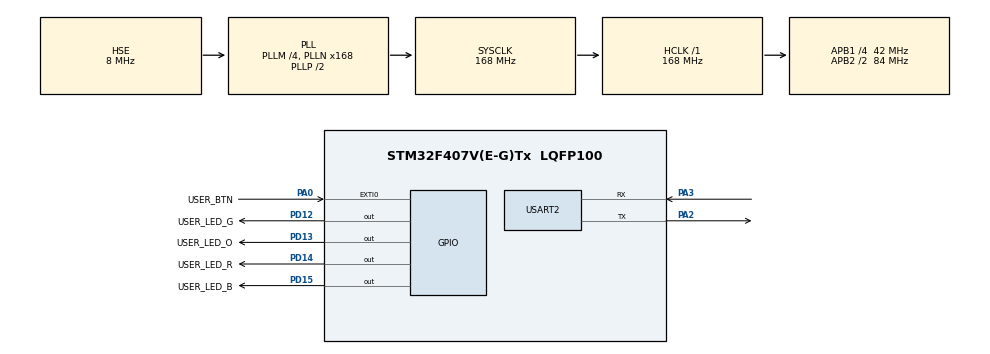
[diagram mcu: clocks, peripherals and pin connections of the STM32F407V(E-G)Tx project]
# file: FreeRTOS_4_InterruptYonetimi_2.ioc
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FREERTOS.CountingSemaphores01=xCountingSemaphore,3,Dynamic,NULL
FREERTOS.INCLUDE_xTimerPendFunctionCall=1
FREERTOS.Tasks01=PeriodicTask,0,128,vPeriodicTask,Default,NULL,Dynamic,NULL,NULL
FREERTOS.configTIMER_QUEUE_LENGTH=2
FREERTOS.configUSE_COUNTING_SEMAPHORES=1
FREERTOS.configUSE_TIMERS=1
Mcu.Family=STM32F4
Mcu.Name=STM32F407V(E-G)Tx
Mcu.Package=LQFP100
NVIC.EXTI0_IRQn=true\:5\:0\:true\:false\:false\:false\:true\:false
NVIC.PriorityGroup=NVIC_PRIORITYGROUP_4
NVIC.TIM1_UP_TIM10_IRQn=true\:0\:0\:false\:false\:true\:false\:false\:true
NVIC.TimeBase=TIM1_UP_TIM10_IRQn
NVIC.TimeBaseIP=TIM1
PA0-WKUP.GPIO_Label=USER_BTN
PA0-WKUP.GPIO_PuPd=GPIO_PULLDOWN
PA0-WKUP.Signal=GPXTI0
PA2.Mode=Asynchronous
PA2.Signal=USART2_TX
PA3.Mode=Asynchronous
PA3.Signal=USART2_RX
PD12.GPIO_Label=USER_LED_G
PD12.Signal=GPIO_Output
PD13.GPIO_Label=USER_LED_O
PD13.Signal=GPIO_Output
PD14.GPIO_Label=USER_LED_R
PD14.Signal=GPIO_Output
PD15.GPIO_Label=USER_LED_B
PD15.Signal=GPIO_Output
PH0-OSC_IN.Mode=HSE-External-Oscillator
PH0-OSC_IN.Signal=RCC_OSC_IN
PH1-OSC_OUT.Mode=HSE-External-Oscillator
PH1-OSC_OUT.Signal=RCC_OSC_OUT
ProjectManager.HeapSize=0x200
ProjectManager.StackSize=0x400
ProjectManager.TargetToolchain=STM32CubeIDE
RCC.48MHZClocksFreq_Value=84000000
RCC.AHBFreq_Value=168000000
RCC.APB1CLKDivider=RCC_HCLK_DIV4
RCC.APB1Freq_Value=42000000
RCC.APB1TimFreq_Value=84000000
RCC.APB2CLKDivider=RCC_HCLK_DIV2
RCC.APB2Freq_Value=84000000
RCC.APB2TimFreq_Value=168000000
RCC.CortexFreq_Value=168000000
RCC.HCLKFreq_Value=168000000
RCC.HSE_VALUE=8000000
RCC.HSI_VALUE=16000000
RCC.LSE_VALUE=32768
RCC.PLLM=4
RCC.PLLN=168
RCC.PLLSourceVirtual=RCC_PLLSOURCE_HSE
RCC.SYSCLKFreq_VALUE=168000000
RCC.SYSCLKSource=RCC_SYSCLKSOURCE_PLLCLK
RCC.VCOOutputFreq_Value=336000000
USART2.VirtualMode=VM_ASYNC
VP_FREERTOS_VS_CMSIS_V1.Mode=CMSIS_V1
VP_SYS_VS_tim1.Mode=TIM1
board=custom

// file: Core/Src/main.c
/* USER CODE BEGIN Header */
/**
  ******************************************************************************
  * @file           : main.c
  * @brief          : Main program body
  ******************************************************************************
  * @attention
  *
  * <h2><center>&copy; Copyright (c) 2020 STMicroelectronics.
  * All rights reserved.</center></h2>
  *
  * This software component is licensed by ST under BSD 3-Clause license,
  * the "License"; You may not use this file except in compliance with the
  * License. You may obtain a copy of the License at:
  *                        opensource.org/licenses/BSD-3-Clause
  *
  ******************************************************************************
  */
/* USER CODE END Header */
#include "main.h"
#include "cmsis_os.h"

/* USER CODE BEGIN Includes */
#include "string.h"
#include "stdio.h"
/* USER CODE END Includes */

UART_HandleTypeDef huart2;

osThreadId PeriodicTaskHandle;
osSemaphoreId xCountingSemaphoreHandle;

void SystemClock_Config(void);
static void MX_GPIO_Init(void);
static void MX_USART2_UART_Init(void);
void vPeriodicTask(void const * argument);

/* USER CODE BEGIN PFP */
void UartPrint(char* message);
void vDeferredHandlingFunction( void *pvParameter1, uint32_t ulParameter2 );
/* USER CODE END PFP */

int main(void)
{

  /* MCU Configuration--------------------------------------------------------*/

  /* Reset of all peripherals, Initializes the Flash interface and the Systick. */
  HAL_Init();

  /* Configure the system clock */
  SystemClock_Config();

  /* Initialize all configured peripherals */
  MX_GPIO_Init();
  MX_USART2_UART_Init();

  /* Create the semaphores(s) */
  /* definition and creation of xCountingSemaphore */
  osSemaphoreDef(xCountingSemaphore);
  xCountingSemaphoreHandle = osSemaphoreCreate(osSemaphore(xCountingSemaphore), 3);

  /* USER CODE BEGIN RTOS_SEMAPHORES */

   // FreeRTOS API ile bu sekilde kullanilmaktadir.
   // SemaphoreHandle_t _xCountingSemaphore = xSemaphoreCreateCounting(2,0);

  /* add semaphores, ... */
  /* USER CODE END RTOS_SEMAPHORES */

  /* Create the thread(s) */
  /* definition and creation of PeriodicTask */
  osThreadDef(PeriodicTask, vPeriodicTask, osPriorityNormal, 0, 128);
  PeriodicTaskHandle = osThreadCreate(osThread(PeriodicTask), NULL);

  /* Start scheduler */
  osKernelStart();

  /* We should never get here as control is now taken by the scheduler */
  /* Infinite loop */
  while (1)
  {

  }
}

void SystemClock_Config(void)
{
  RCC_OscInitTypeDef RCC_OscInitStruct = {0};
  RCC_ClkInitTypeDef RCC_ClkInitStruct = {0};

  /** Configure the main internal regulator output voltage
  */
  __HAL_RCC_PWR_CLK_ENABLE();
  __HAL_PWR_VOLTAGESCALING_CONFIG(PWR_REGULATOR_VOLTAGE_SCALE1);
  /** Initializes the RCC Oscillators according to the specified parameters
  * in the RCC_OscInitTypeDef structure.
  */
  RCC_OscInitStruct.OscillatorType = RCC_OSCILLATORTYPE_HSE;
  RCC_OscInitStruct.HSEState = RCC_HSE_ON;
  RCC_OscInitStruct.PLL.PLLState = RCC_PLL_ON;
  RCC_OscInitStruct.PLL.PLLSource = RCC_PLLSOURCE_HSE;
  RCC_OscInitStruct.PLL.PLLM = 4;
  RCC_OscInitStruct.PLL.PLLN = 168;
  RCC_OscInitStruct.PLL.PLLP = RCC_PLLP_DIV2;
  RCC_OscInitStruct.PLL.PLLQ = 4;
  if (HAL_RCC_OscConfig(&RCC_OscInitStruct) != HAL_OK)
  {
    Error_Handler();
  }
  /** Initializes the CPU, AHB and APB buses clocks
  */
  RCC_ClkInitStruct.ClockType = RCC_CLOCKTYPE_HCLK|RCC_CLOCKTYPE_SYSCLK
                              |RCC_CLOCKTYPE_PCLK1|RCC_CLOCKTYPE_PCLK2;
  RCC_ClkInitStruct.SYSCLKSource = RCC_SYSCLKSOURCE_PLLCLK;
  RCC_ClkInitStruct.AHBCLKDivider = RCC_SYSCLK_DIV1;
  RCC_ClkInitStruct.APB1CLKDivider = RCC_HCLK_DIV4;
  RCC_ClkInitStruct.APB2CLKDivider = RCC_HCLK_DIV2;

  if (HAL_RCC_ClockConfig(&RCC_ClkInitStruct, FLASH_LATENCY_5) != HAL_OK)
  {
    Error_Handler();
  }
}

static void MX_USART2_UART_Init(void)
{

  huart2.Instance = USART2;
  huart2.Init.BaudRate = 115200;
  huart2.Init.WordLength = UART_WORDLENGTH_8B;
  huart2.Init.StopBits = UART_STOPBITS_1;
  huart2.Init.Parity = UART_PARITY_NONE;
  huart2.Init.Mode = UART_MODE_TX_RX;
  huart2.Init.HwFlowCtl = UART_HWCONTROL_NONE;
  huart2.Init.OverSampling = UART_OVERSAMPLING_16;
  if (HAL_UART_Init(&huart2) != HAL_OK)
  {
    Error_Handler();
  }

}

static void MX_GPIO_Init(void)
{
  GPIO_InitTypeDef GPIO_InitStruct = {0};

  /* GPIO Ports Clock Enable */
  __HAL_RCC_GPIOH_CLK_ENABLE();
  __HAL_RCC_GPIOA_CLK_ENABLE();
  __HAL_RCC_GPIOD_CLK_ENABLE();

  /*Configure GPIO pin Output Level */
  HAL_GPIO_WritePin(GPIOD, USER_LED_G_Pin|USER_LED_O_Pin|USER_LED_R_Pin|USER_LED_B_Pin, GPIO_PIN_RESET);

  /*Configure GPIO pin : USER_BTN_Pin */
  GPIO_InitStruct.Pin = USER_BTN_Pin;
  GPIO_InitStruct.Mode = GPIO_MODE_IT_RISING;
  GPIO_InitStruct.Pull = GPIO_PULLDOWN;
  HAL_GPIO_Init(USER_BTN_GPIO_Port, &GPIO_InitStruct);

  /*Configure GPIO pins : USER_LED_G_Pin USER_LED_O_Pin USER_LED_R_Pin USER_LED_B_Pin */
  GPIO_InitStruct.Pin = USER_LED_G_Pin|USER_LED_O_Pin|USER_LED_R_Pin|USER_LED_B_Pin;
  GPIO_InitStruct.Mode = GPIO_MODE_OUTPUT_PP;
  GPIO_InitStruct.Pull = GPIO_NOPULL;
  GPIO_InitStruct.Speed = GPIO_SPEED_FREQ_LOW;
  HAL_GPIO_Init(GPIOD, &GPIO_InitStruct);

  /* EXTI interrupt init*/
  HAL_NVIC_SetPriority(EXTI0_IRQn, 5, 0);
  HAL_NVIC_EnableIRQ(EXTI0_IRQn);

}

/* USER CODE BEGIN 4 */

void EXTI0_IRQHandler(void)
{
	if(__HAL_GPIO_EXTI_GET_IT(GPIO_PIN_0) != 0)
	{
		BaseType_t xHigherPriorityTaskWoken = pdFALSE;
		static uint32_t ulParameterValue = 0;

		UartPrint("ISR is running...\r\n");

		xTimerPendFunctionCallFromISR( vDeferredHandlingFunction, /* Function to execute. */
										NULL, /* Not used. */
										ulParameterValue, /* Incrementing value. */
										&xHigherPriorityTaskWoken );

		ulParameterValue++;

		__HAL_GPIO_EXTI_CLEAR_IT(GPIO_PIN_0);
		portYIELD_FROM_ISR( xHigherPriorityTaskWoken );
	}

}

void UartPrint(char* message)
{
	HAL_UART_Transmit(&huart2, (uint8_t*)message, strlen(message), 20);
}

void vDeferredHandlingFunction( void *pvParameter1, uint32_t ulParameter2 )
{
	char msg[50];
	HAL_GPIO_TogglePin(USER_LED_G_GPIO_Port, USER_LED_G_Pin);
	snprintf(msg,sizeof(msg), "Handler function - Processing event %lu \r\n",ulParameter2);
	UartPrint(msg );
}
/* USER CODE END 4 */

void vPeriodicTask(void const * argument)
{
  /* USER CODE BEGIN 5 */
  /* Infinite loop */
  for(;;)
  {
	  UartPrint("Periodic task processing...\r\n");
	  HAL_GPIO_TogglePin(USER_LED_O_GPIO_Port, USER_LED_O_Pin);
	  vTaskDelay(pdMS_TO_TICKS(1000));

//	  osDelay(1000);

  }
  /* USER CODE END 5 */
}

void HAL_TIM_PeriodElapsedCallback(TIM_HandleTypeDef *htim)
{
  if (htim->Instance == TIM1) {
    HAL_IncTick();
  }
}

void Error_Handler(void)
{
}

/************************ (C) COPYRIGHT STMicroelectronics *****END OF FILE****/
